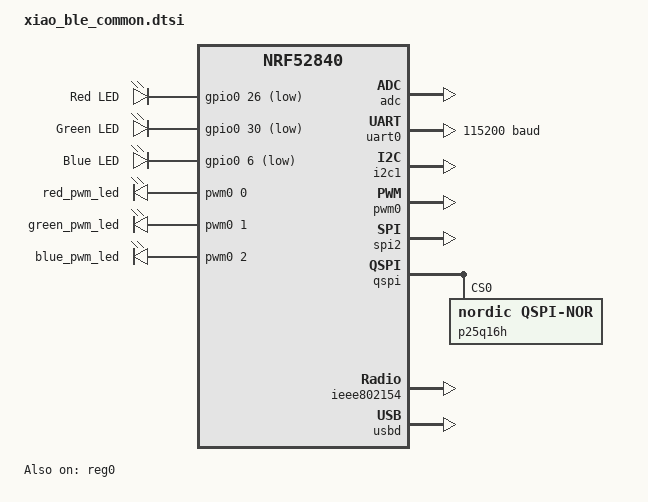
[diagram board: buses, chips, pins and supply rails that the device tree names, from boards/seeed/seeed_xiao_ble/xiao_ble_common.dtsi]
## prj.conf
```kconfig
CONFIG_KERNEL_BIN_NAME="crazyradio2"

# Timers and ppi used by the radio
CONFIG_NRFX_PPI=y
CONFIG_NRFX_TIMER0=y
CONFIG_NRFX_TIMER1=y

# USB config
CONFIG_USB_DEVICE_STACK=y
CONFIG_USB_DEVICE_MANUFACTURER="Bitcraze AB"
CONFIG_USB_DEVICE_PRODUCT="Crazyradio 2.0"

# Log configuration
CONFIG_STDOUT_CONSOLE=y
CONFIG_LOG=y
CONFIG_LOG_DEFAULT_LEVEL=1
CONFIG_LOG_MAX_LEVEL=4
CONFIG_USB_DRIVER_LOG_LEVEL_ERR=y
CONFIG_USB_DEVICE_LOG_LEVEL_ERR=y

# RNG config
CONFIG_ENTROPY_GENERATOR=y
# CONFIG_XOROSHIRO_RANDOM_GENERATOR=y

CONFIG_CONSOLE=y

CONFIG_UART_CONSOLE=n
CONFIG_RTT_CONSOLE=y
CONFIG_USE_SEGGER_RTT=y

#CONFIG_TARGET_UF2_BOOTLOADER=y

CONFIG_ADC=y
```

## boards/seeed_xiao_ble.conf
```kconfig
# SPDX-License-Identifier: Apache-2.0

# Enable MPU
CONFIG_ARM_MPU=y

# Enable hardware stack protection
CONFIG_HW_STACK_PROTECTION=y

# Enable GPIO
CONFIG_GPIO=y

# Enable UART driver
CONFIG_SERIAL=y

# Enable console
CONFIG_CONSOLE=y

# Build UF2 by default, supported by the Adafruit nRF52 Bootloader
CONFIG_BUILD_OUTPUT_UF2=y
CONFIG_USE_DT_CODE_PARTITION=y

CONFIG_LOG=y
CONFIG_LOG_RUNTIME_FILTERING=y
CONFIG_LOG_BUFFER_SIZE=2048
CONFIG_LOG_PRINTK=y
CONFIG_LOG_PROCESS_TRIGGER_THRESHOLD=0
```

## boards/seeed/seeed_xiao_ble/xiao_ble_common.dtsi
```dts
/*
 * Copyright (c) 2022 Marcin Niestroj
 * Copyright (c) 2022 Peter Johanson
 *
 * SPDX-License-Identifier: Apache-2.0
 */

#include <nordic/nrf52840_qiaa.dtsi>
#include <nordic/nrf52840_partition_uf2_sdv7.dtsi>
#include "xiao_ble-pinctrl.dtsi"
#include "seeed_xiao_connector.dtsi"

/ {
	chosen {
		zephyr,ieee802154 = &ieee802154;
	};

	leds {
		compatible = "gpio-leds";
		led0_red: led_0 {
			gpios = <&gpio0 26 GPIO_ACTIVE_LOW>;
			label = "Red LED";
		};
		led0_green: led_1 {
			gpios = <&gpio0 30 GPIO_ACTIVE_LOW>;
			label = "Green LED";
		};
		led0_blue: led_2 {
			gpios = <&gpio0 6 GPIO_ACTIVE_LOW>;
			label = "Blue LED";
		};
	};

	pwmleds {
		compatible = "pwm-leds";
		red_pwm_led: pwm_led_0 {
			pwms = <&pwm0 0 PWM_MSEC(20) PWM_POLARITY_INVERTED>;
		};

		green_pwm_led: pwm_led_1 {
			pwms = <&pwm0 1 PWM_MSEC(20) PWM_POLARITY_INVERTED>;
		};

		blue_pwm_led: pwm_led_2 {
			pwms = <&pwm0 2 PWM_MSEC(20) PWM_POLARITY_INVERTED>;
		};
	};

	/* These aliases are provided for compatibility with samples */
	aliases {
		led0 = &led0_red;
		led1 = &led0_green;
		led2 = &led0_blue;
		pwm-led0 = &red_pwm_led;
		pwm-led1 = &green_pwm_led;
		pwm-led2 = &blue_pwm_led;
		red-pwm-led = &red_pwm_led;
		green-pwm-led = &green_pwm_led;
		blue-pwm-led = &blue_pwm_led;
		watchdog0 = &wdt0;
	};
};

&reg0 {
	status = "okay";
};

&reg1 {
	regulator-initial-mode = <NRF5X_REG_MODE_DCDC>;
};

&adc {
	status = "okay";
};

&uicr {
	gpio-as-nreset;
};

&gpiote {
	status = "okay";
};

&gpio0 {
	status = "okay";
};

&gpio1 {
	status = "okay";
};

&uart0 {
	compatible = "nordic,nrf-uarte";
	status = "okay";
	current-speed = <115200>;
	pinctrl-0 = <&uart0_default>;
	pinctrl-1 = <&uart0_sleep>;
	pinctrl-names = "default", "sleep";
};

&i2c1 {
	compatible = "nordic,nrf-twi";
	/* Cannot be used together with spi1. */
	status = "okay";
	pinctrl-0 = <&i2c1_default>;
	pinctrl-1 = <&i2c1_sleep>;
	pinctrl-names = "default", "sleep";
};

&pwm0 {
	status = "okay";
	pinctrl-0 = <&pwm0_default>;
	pinctrl-1 = <&pwm0_sleep>;
	pinctrl-names = "default", "sleep";
};

&spi2 {
	compatible = "nordic,nrf-spi";
	status = "okay";
	pinctrl-0 = <&spi2_default>;
	pinctrl-1 = <&spi2_sleep>;
	pinctrl-names = "default", "sleep";
};

&qspi {
	status = "okay";
	pinctrl-0 = <&qspi_default>;
	pinctrl-1 = <&qspi_sleep>;
	pinctrl-names = "default", "sleep";
	p25q16h: p25q16h@0 {
		compatible = "nordic,qspi-nor";
		reg = <0>;
		sck-frequency = <104000000>;
		quad-enable-requirements = "S2B1v1";
		jedec-id = [85 60 15];
		sfdp-bfp = [
			e5 20 f1 ff  ff ff ff 00  44 eb 08 6b  08 3b 80 bb
			ee ff ff ff  ff ff 00 ff  ff ff 00 ff  0c 20 0f 52
			10 d8 08 81
		];
		size = <16777216>;
		has-dpd;
		t-enter-dpd = <3000>;
		t-exit-dpd = <8000>;
	};
};

&ieee802154 {
	status = "okay";
};

zephyr_udc0: &usbd {
	compatible = "nordic,nrf-usbd";
	status = "okay";
};

#include <../boards/common/usb/cdc_acm_serial.dtsi>
```

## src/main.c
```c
/**
 * ,---------,       ____  _ __
 * |  ,-^-,  |      / __ )(_) /_______________ _____  ___
 * | (  O  ) |     / __  / / __/ ___/ ___/ __ `/_  / / _ \
 * | / ,--´  |    / /_/ / / /_/ /__/ /  / /_/ / / /_/  __/
 *    +------`   /_____/_/\__/\___/_/   \__,_/ /___/\___/
 *
 * Copyright 2023 Bitcraze AB
 *
 * Permission is hereby granted, free of charge, to any person obtaining a copy of this software and associated
 * documentation files (the "Software"), to deal in the Software without restriction, including without limitation the
 * rights to use, copy, modify, merge, publish, distribute, sublicense, and/or sell copies of the Software, and to
 * permit persons to whom the Software is furnished to do so, subject to the following conditions:
 *
 * The above copyright notice and this permission notice shall be included in all copies or substantial portions of the
 * Software.
 *
 * THE SOFTWARE IS PROVIDED "AS IS", WITHOUT WARRANTY OF ANY KIND, EXPRESS OR IMPLIED, INCLUDING BUT NOT LIMITED TO THE
 * WARRANTIES OF MERCHANTABILITY, FITNESS FOR A PARTICULAR PURPOSE AND NONINFRINGEMENT. IN NO EVENT SHALL THE AUTHORS OR
 * COPYRIGHT HOLDERS BE LIABLE FOR ANY CLAIM, DAMAGES OR OTHER LIABILITY, WHETHER IN AN ACTION OF CONTRACT, TORT OR
 * OTHERWISE, ARISING FROM, OUT OF OR IN CONNECTION WITH THE SOFTWARE OR THE USE OR OTHER DEALINGS IN THE SOFTWARE.
 */

#include <zephyr/kernel.h>

#include <zephyr/drivers/clock_control.h>
#include <zephyr/drivers/clock_control/nrf_clock_control.h>

#include <zephyr/sys/byteorder.h>
#include <zephyr/usb/usb_device.h>
#include <zephyr/usb/usb_ch9.h>

#include <app_version.h>

#include "led.h"
#include "fem.h"
#include "esb.h"

#include <nrfx_clock.h>

#include <zephyr/logging/log.h>
LOG_MODULE_REGISTER(main, LOG_LEVEL_INF);

/** USB Device release number (bcdDevice Descriptor field), set to firmware version */
#define USB_BCD_APP_DRN		(USB_DEC_TO_BCD(APP_VERSION_MAJOR) << 8 | \
				 USB_DEC_TO_BCD(APP_VERSION_MINOR))

static void set_usb_app_version(void);

static int startHFClock(void)
{
    nrfx_clock_hfclk_start();
	return 0;
}

int main(void)
{
    LOG_INF("Staring %s on target %s", CONFIG_KERNEL_BIN_NAME, CONFIG_BOARD_TARGET);
	LOG_INF("Firmware version: %s", APP_VERSION_STRING);

    // HFCLK crystal is needed by the radio and USB
    startHFClock();

    led_init();
	led_pulse_green(K_MSEC(500));
	led_pulse_red(K_MSEC(500));
	led_pulse_blue(K_MSEC(500));

	esb_init();

#if defined(CONFIG_FEM)
	LOG_INF("FEM enabled");
	fem_init();

	// Test the FEM
	LOG_DBG("Enabling TX");
	fem_txen_set(true);
	k_sleep(K_MSEC(10));
	bool enabled = fem_is_pa_enabled();
	LOG_DBG("PA enabled: %d", enabled);
	fem_txen_set(false);

	LOG_DBG("Enabling RX");
	fem_rxen_set(true);
	k_sleep(K_MSEC(10));
	enabled = fem_is_lna_enabled();
	LOG_DBG("LNA enabled: %d", enabled);
	fem_rxen_set(false);
#endif
	set_usb_app_version();
    
	// Initialize USB device stack
	int ret = usb_enable(NULL);
	if (ret != 0) {
		LOG_ERR("Failed to enable USB");
		return -1;
	}

	LOG_INF("Initialization done");

	while(1) {
		k_sleep(K_MSEC(1000));
	}

	return 0;
}

extern struct usb_desc_header __usb_descriptor_start[];

static void set_usb_app_version(void)
{
	struct usb_device_descriptor *dev_desc;
	const uint8_t *descriptors = (const uint8_t *)__usb_descriptor_start;

	dev_desc = (void *)descriptors;
	dev_desc->bcdDevice = sys_cpu_to_le16(USB_BCD_APP_DRN);
}
```
